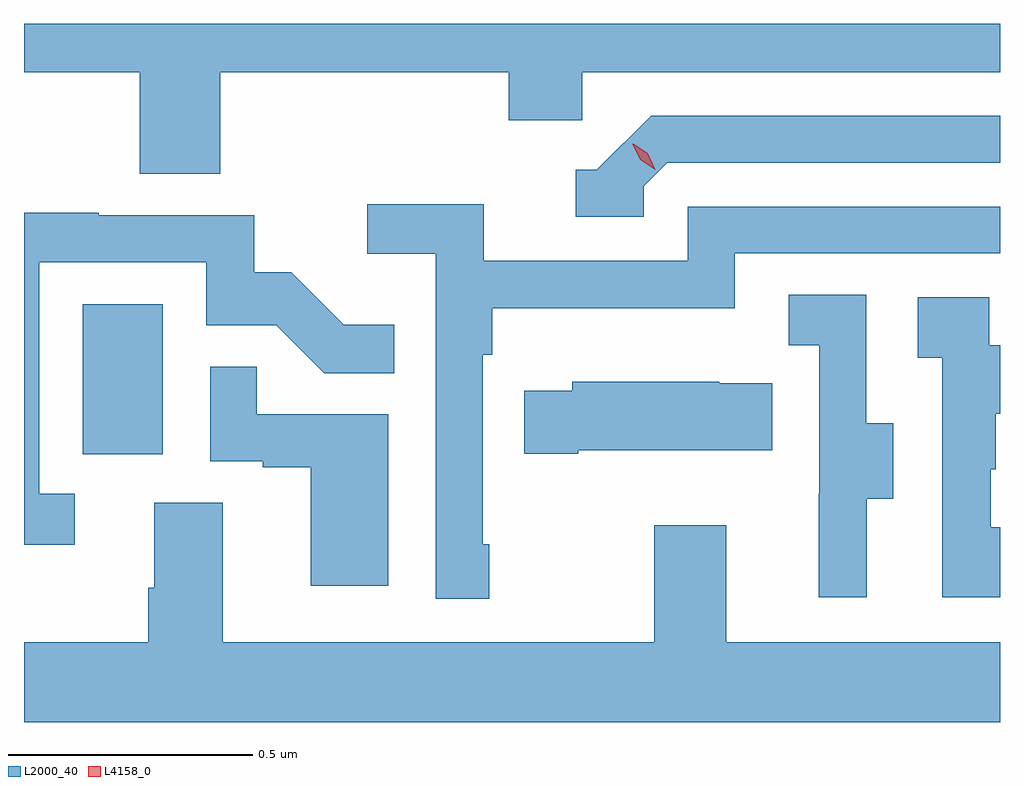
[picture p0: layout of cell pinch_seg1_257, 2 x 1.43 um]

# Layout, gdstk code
import gdstk
lib = gdstk.Library(unit=1e-6, precision=1e-09)
def R(c, l, rs):  # rectangles x0, y0, x1, y1
    for r in rs: c.add(gdstk.rectangle(r[:2], r[2:], *l))
def P(c, l, *ps):  # polygons
    for p in ps: c.add(gdstk.Polygon(p, *l))
L2000_40 = (2000, 40)
L4158_0 = (4158, 0)

pinch_seg1_257 = lib.new_cell('pinch_seg1_257')
R(pinch_seg1_257, L2000_40, [(904.358,582.918,904.522,583.225)])
P(pinch_seg1_257, L2000_40, [(904.64,583.7),(905.231,583.7),(905.231,583.602),(905.382,583.602),(905.382,583.7),(906.238,583.7),(906.238,583.8),(904.238,583.8),(904.238,583.7),(904.475,583.7),(904.475,583.492),(904.64,583.492)],
  [(905.508,583.467),(905.556,583.515),(906.238,583.515),(906.238,583.611),(905.523,583.611),(905.412,583.5),(905.369,583.5),(905.369,583.404),(905.508,583.404)],
  [(905.191,582.733),(905.178,582.733),(905.178,583.121),(905.198,583.121),(905.198,583.217),(905.694,583.217),(905.694,583.329),(906.238,583.329),(906.238,583.425),(905.598,583.425),(905.598,583.314),(905.18,583.314),(905.18,583.43),(904.941,583.43),(904.941,583.328),(905.082,583.328),(905.082,582.621),(905.191,582.621)],
  [(904.342,582.837),(904.269,582.837),(904.269,583.311),(904.611,583.311),(904.611,583.182),(904.755,583.182),(904.853,583.084),(904.997,583.084),(904.997,583.183),(904.893,583.183),(904.786,583.29),(904.71,583.29),(904.71,583.407),(904.391,583.407),(904.391,583.412),(904.238,583.412),(904.238,582.732),(904.342,582.732)],
  [(905.965,582.826),(906.019,582.826),(906.019,582.981),(905.964,582.981),(905.964,583.244),(905.805,583.244),(905.805,583.141),(905.868,583.141),(905.868,582.837),(905.867,582.837),(905.867,582.624),(905.965,582.624)],
  [(906.238,582.768),(906.219,582.768),(906.219,582.887),(906.229,582.887),(906.229,583.001),(906.238,583.001),(906.238,583.141),(906.216,583.141),(906.216,583.239),(906.069,583.239),(906.069,583.115),(906.12,583.115),(906.12,582.624),(906.238,582.624)],
  [(904.984,582.999),(904.715,582.999),(904.715,583.097),(904.62,583.097),(904.62,582.903),(904.727,582.903),(904.727,582.891),(904.826,582.891),(904.826,582.648),(904.984,582.648)],
  [(905.374,582.926),(905.771,582.926),(905.771,583.063),(905.663,583.063),(905.663,583.066),(905.361,583.066),(905.361,583.048),(905.263,583.048),(905.263,582.919),(905.374,582.919)],
  [(906.238,582.532),(905.677,582.532),(905.677,582.772),(905.53,582.772),(905.53,582.532),(904.645,582.532),(904.645,582.818),(904.505,582.818),(904.505,582.644),(904.493,582.644),(904.493,582.532),(904.238,582.532),(904.238,582.368),(906.238,582.368)])
P(pinch_seg1_257, L4158_0, [(905.532,583.501),(905.501,583.521),(905.485,583.553),(905.485,583.554),(905.486,583.554),(905.516,583.534),(905.532,583.501),(905.532,583.501)])

lib.write_gds('pinch_seg1_257.gds')
